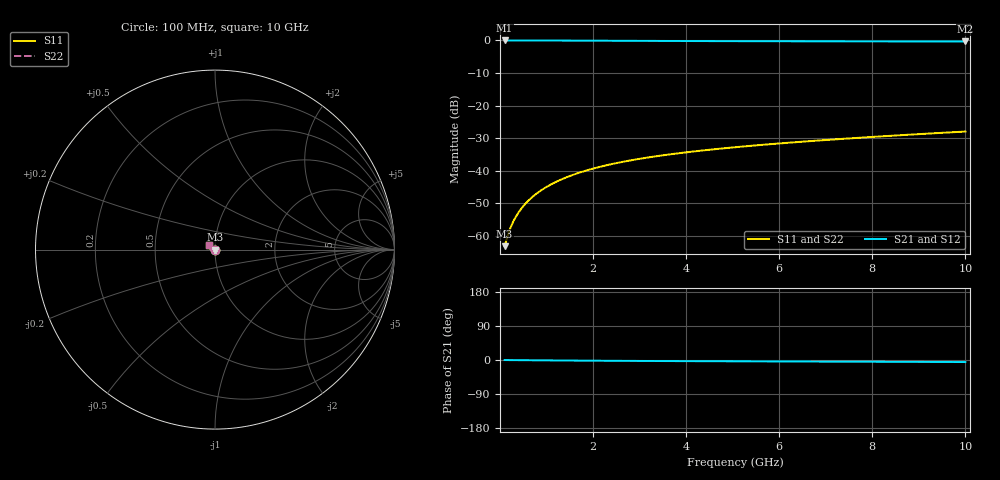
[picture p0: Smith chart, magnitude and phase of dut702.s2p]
! Touchstone file exported from HFSS 2024.1.0
!  File:  C:/UserFiles/LocalFiles/RDL_TSV_Batchsim/temp_TSV1_702_1779866377.aedt
!  Generated:  03:29:09 PM May 27, 2026
!  Design:  TSV1
!  Project:  temp_TSV1_702_1779866377
!  Setup:  Setup1
!  Solution:  Sweep
! Variables:
!  dtsv = 5.9um
!  hbump = 3um
!  htsv = 78.32um
!  lrdl = 252.1521522um
!  p = 40
!  p1 = 52.96um
!  t = 500um
!  trdl = 3um
!  wrdl = 24.89489489um
# GHz S MA R 50.000000
! Terminal data exported
! Port[1] = TSV22_T1
! Port[2] = TSV22_T2
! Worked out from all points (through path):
!   100 points, 100 MHz to 10 GHz, reference 50 ohm
!   highest |S21| = 0.00 dB at 100 MHz (marker M1); lowest = -0.3 dB at 10 GHz (marker M2)
!   lowest |S11| = -63.2 dB at 100 MHz (marker M3), VSWR 1.00, Z = 50 - j0.0582 ohm
!   |S11| at or under -10 dB: start of sweep to end of sweep
!   |S22| runs from -63.2 to -28.0 dB; largest |S21 - S12| = 4e-15
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0.1  0.0006927 -57.1  0.9996 -0.1  0.9996 -0.1  0.0006927 -57.1
! Gamma 0 0 0 0
! Port Impedance 50 0 50 0
0.2  0.001199 -75.5  0.9995 -0.2  0.9995 -0.2  0.001199 -75.5
0.3  0.001742 -84.2  0.9994 -0.3  0.9994 -0.3  0.001742 -84.2
0.4  0.002295 -89.9  0.9992 -0.4  0.9992 -0.4  0.002295 -89.9
0.5  0.002853 -94.3  0.9989 -0.5  0.9989 -0.5  0.002853 -94.3
0.6  0.003411 -98.1  0.9987 -0.6  0.9987 -0.6  0.003411 -98.1
0.7  0.003969 -101.4  0.9983 -0.7  0.9983 -0.7  0.003969 -101.4
0.8  0.004524 -104.4  0.998 -0.8  0.998 -0.8  0.004524 -104.4
0.9  0.005075 -107.3  0.9976 -0.9  0.9976 -0.9  0.005076 -107.3
1.1  0.006165 -112.7  0.9967 -1.1  0.9967 -1.1  0.006165 -112.7
1.4  0.007757 -120.1  0.9952 -1.4  0.9952 -1.4  0.007757 -120.1
1.6  0.008785 -124.7  0.994 -1.5  0.994 -1.5  0.008785 -124.7
1.8  0.009784 -129.1  0.9929 -1.7  0.9929 -1.7  0.009784 -129.1
2.1  0.01123 -135.5  0.991 -1.9  0.991 -1.9  0.01123 -135.5
2.5  0.01306 -143.4  0.9884 -2.2  0.9884 -2.2  0.01306 -143.4
2.9  0.01479 -150.7  0.9859 -2.4  0.9859 -2.4  0.01479 -150.7
3.4  0.01682 -159.1  0.983 -2.7  0.983 -2.7  0.01682 -159.1
4.2  0.01986 -170.9  0.9788 -3.1  0.9788 -3.1  0.01986 -170.9
5.1  0.02307 177.9  0.9749 -3.5  0.9749 -3.5  0.02307 177.9
6.7  0.02855 162.1  0.9698 -4.1  0.9698 -4.1  0.02855 162.1
8.4  0.03434 149.6  0.9662 -4.8  0.9662 -4.8  0.03434 149.6
10  0.03989 140.6  0.9637 -5.4  0.9637 -5.4  0.03989 140.6
